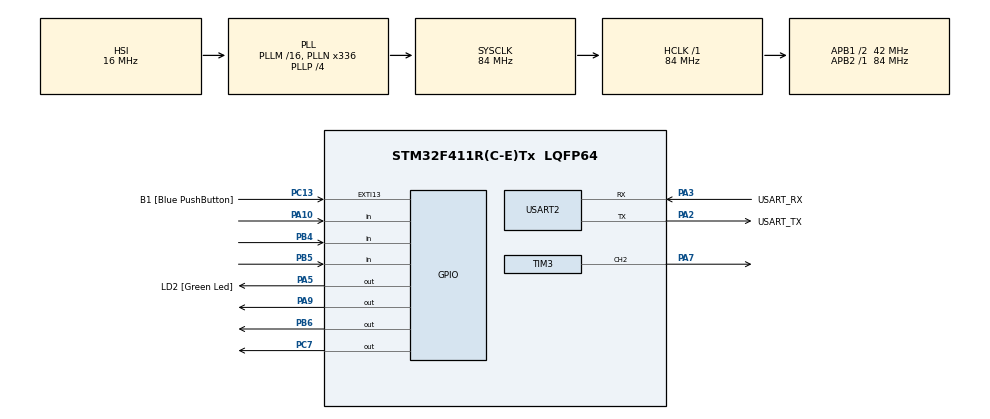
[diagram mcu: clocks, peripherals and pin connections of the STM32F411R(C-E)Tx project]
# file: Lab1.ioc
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Mcu.Family=STM32F4
Mcu.Name=STM32F411R(C-E)Tx
Mcu.Package=LQFP64
NVIC.PriorityGroup=NVIC_PRIORITYGROUP_0
PA10.Signal=GPIO_Input
PA13.GPIO_Label=TMS
PA13.Mode=Serial_Wire
PA13.Signal=SYS_JTMS-SWDIO
PA14.GPIO_Label=TCK
PA14.Mode=Serial_Wire
PA14.Signal=SYS_JTCK-SWCLK
PA2.GPIO_Label=USART_TX
PA2.Mode=Asynchronous
PA2.Signal=USART2_TX
PA3.GPIO_Label=USART_RX
PA3.Mode=Asynchronous
PA3.Signal=USART2_RX
PA5.GPIO_Label=LD2 [Green Led]
PA5.Signal=GPIO_Output
PA7.Signal=S_TIM3_CH2
PA9.Signal=GPIO_Output
PB3.Signal=SYS_JTDO-SWO
PB4.Signal=GPIO_Input
PB5.Signal=GPIO_Input
PB6.Signal=GPIO_Output
PC13-ANTI_TAMP.GPIO_Label=B1 [Blue PushButton]
PC13-ANTI_TAMP.GPIO_ModeDefaultEXTI=GPIO_MODE_IT_FALLING
PC13-ANTI_TAMP.Signal=GPXTI13
PC14-OSC32_IN.Mode=LSE-External-Oscillator
PC14-OSC32_IN.Signal=RCC_OSC32_IN
PC15-OSC32_OUT.Mode=LSE-External-Oscillator
PC15-OSC32_OUT.Signal=RCC_OSC32_OUT
PC7.Signal=GPIO_Output
PH0\ -\ OSC_IN.Mode=HSE-External-Clock-Source
PH0\ -\ OSC_IN.Signal=RCC_OSC_IN
PH1\ -\ OSC_OUT.Mode=HSE-External-Clock-Source
PH1\ -\ OSC_OUT.Signal=RCC_OSC_OUT
ProjectManager.HeapSize=0x200
ProjectManager.StackSize=0x400
ProjectManager.TargetToolchain=STM32CubeIDE
RCC.48MHZClocksFreq_Value=84000000
RCC.AHBFreq_Value=84000000
RCC.APB1CLKDivider=RCC_HCLK_DIV2
RCC.APB1Freq_Value=42000000
RCC.APB1TimFreq_Value=84000000
RCC.APB2Freq_Value=84000000
RCC.APB2TimFreq_Value=84000000
RCC.CortexFreq_Value=84000000
RCC.FLatency-AdvancedSettings=FLASH_LATENCY_2
RCC.HCLKFreq_Value=84000000
RCC.HSE_VALUE=8000000
RCC.HSI_VALUE=16000000
RCC.PLLN=336
RCC.PLLP=RCC_PLLP_DIV4
RCC.SYSCLKFreq_VALUE=84000000
RCC.SYSCLKSource=RCC_SYSCLKSOURCE_PLLCLK
RCC.VCOOutputFreq_Value=336000000
SH.S_TIM3_CH2.0=TIM3_CH2,PWM Generation2 CH2
TIM3.Channel-PWM\ Generation2\ CH2=TIM_CHANNEL_2
TIM3.Period=999
TIM3.Prescaler=71
USART2.VirtualMode=VM_ASYNC
VP_TIM3_VS_ClockSourceINT.Mode=Internal
board=NUCLEO-F411RE

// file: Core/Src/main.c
/* USER CODE BEGIN Header */
/**
  ******************************************************************************
  * @file           : main.c
  * @brief          : Main program body
  ******************************************************************************
  * @attention
  *
  * <h2><center>&copy; Copyright (c) 2021 STMicroelectronics.
  * All rights reserved.</center></h2>
  *
  * This software component is licensed by ST under BSD 3-Clause license,
  * the "License"; You may not use this file except in compliance with the
  * License. You may obtain a copy of the License at:
  *                        opensource.org/licenses/BSD-3-Clause
  *
  ******************************************************************************
  */
/* USER CODE END Header */
#include "main.h"

TIM_HandleTypeDef htim3;

UART_HandleTypeDef huart2;

void SystemClock_Config(void);
static void MX_GPIO_Init(void);
static void MX_USART2_UART_Init(void);
static void MX_TIM3_Init(void);

int main(void)
{

  /* MCU Configuration--------------------------------------------------------*/

  /* Reset of all peripherals, Initializes the Flash interface and the Systick. */
  HAL_Init();

  /* Configure the system clock */
  SystemClock_Config();

  /* Initialize all configured peripherals */
  MX_GPIO_Init();
  MX_USART2_UART_Init();
  MX_TIM3_Init();
  /* USER CODE BEGIN 2 */

  GPIO_PinState SwitchState1[2]; //now,last for part 1
  GPIO_PinState SwitchState2[2]; //now,last for part 2
  GPIO_PinState SwitchState3[2]; //now,last for part 3
  GPIO_PinState SwitchState4[2]; //now,last for part 4

  uint16_t LED1_HalfPeriod[4] = {1000,500,250,167}; // HalfPeriod of LED1 (D1)
  uint16_t LED3_TimeShow[2]={500, 1500}; //time on off of LED3 (D5)

  uint8_t i = 0; //index of half period for part 1
  uint8_t j = 0; //index of Time show for part 3
  uint8_t k = 0; ////index of pwm for part 4

  uint32_t TimeStamp = 0; //count time for delay for part 1
  uint32_t Time = 0; //count time for delay for part 3
  uint32_t ButtonTimeStamp = 0; //count time for button delay

  //HAL_TIM_Base_Start_IT(&htim1);
  HAL_TIM_PWM_Start(&htim3, TIM_CHANNEL_2);//enable PWM output on LED pin

  uint16_t PWM[5] = {1000,750,500,250,0}; // PWM (D4)
  //uint8_t k = __HAL_TIM_GET_COMPARE(&htim3, TIM_CHANNEL_2); //the period is 1000. Duty cycle should vary between 0 and 1000.
  __HAL_TIM_SET_COMPARE(&htim3, TIM_CHANNEL_2, PWM[k]); //update the PWM control register

  /* USER CODE END 2 */

  /* Infinite loop */
  while (1)
  {

    /* USER CODE BEGIN 3 */
	  	  if(HAL_GetTick()-ButtonTimeStamp>=100)//ms
	  	  {
	  		  ButtonTimeStamp = HAL_GetTick(); //save time present for button delay
	  		  //switch press is low
	  		  SwitchState1[0]= HAL_GPIO_ReadPin(GPIOA, GPIO_PIN_10); //save present state for part1
	  		  SwitchState2[0]= HAL_GPIO_ReadPin(GPIOB, GPIO_PIN_3); //save present state for part2
	  		  SwitchState3[0]= HAL_GPIO_ReadPin(GPIOB, GPIO_PIN_5); //save present state for part3
	  		  SwitchState4[0]= HAL_GPIO_ReadPin(GPIOB, GPIO_PIN_4); //save present state for part4

	  		  if(SwitchState1[1]==GPIO_PIN_SET
	  				  && SwitchState1[0]==GPIO_PIN_RESET) //if press button (s1)
	  		  {
	  			  //change half period of LED 1
	  			  if (i < 3) //index 0 - 2
	  			  {
	  				  i += 1; //add 1
	  			  }
	  			  else //index 3
	  			  {
	  				  i=0; //reset index
	  			  }
	  		  }

	  		  if(SwitchState2[1]==GPIO_PIN_SET
	  				  && SwitchState2[0]==GPIO_PIN_RESET) //if press button (s2)
	  		  {
	  			  //change state of LED 2
	  			if(HAL_GPIO_ReadPin(GPIOC, GPIO_PIN_7)==GPIO_PIN_SET) //if LED2 (D3) turn on
	  			{
	  				HAL_GPIO_WritePin(GPIOC, GPIO_PIN_7, GPIO_PIN_RESET); // turn off
	  			}
	  			else //if LED2 (D3) turn off
	  			{
	  				HAL_GPIO_WritePin(GPIOC, GPIO_PIN_7, GPIO_PIN_SET); //turn on
	  			}
	  		  }

	  		  if(SwitchState3[1]==GPIO_PIN_SET
	  				&& SwitchState3[0]==GPIO_PIN_RESET) //if press button (s3)
	  			{
	  			//change half period of LED 3
	  			if (j == 0) //index 0
	  				{
	  					j= 1; //index 1
	  				}
	  			else //index 1
	  				{
	  					j=0; //reset index
	  				}
	  			}

	  		if(SwitchState4[1]==GPIO_PIN_SET
	  				&& SwitchState4[0]==GPIO_PIN_RESET) //if press button (s4)
	  			{
	  			//change half period of LED 4
	  			if (k < 4) //index 0 - 4
	  				{
	  					k += 1; //add
	  					__HAL_TIM_SET_COMPARE(&htim3, TIM_CHANNEL_2, PWM[k]); //update the PWM control register
	  				}
	  			else //index 5
	  				{
	  					k=0; //reset index
	  					__HAL_TIM_SET_COMPARE(&htim3, TIM_CHANNEL_2, PWM[k]); //update the PWM control register
	  				}
	  			}

	  		  SwitchState1[1]=SwitchState1[0]; //save last state for part 1
	  		  SwitchState2[1]=SwitchState2[0]; //save last state for part 2
	  		  SwitchState3[1]=SwitchState3[0]; //save last state for part 3
	  		  SwitchState4[1]=SwitchState4[0]; //save last state for part 4

	  	  }

	  //run LED1

	  	  if (HAL_GetTick()-TimeStamp >= LED1_HalfPeriod[i]) //half period of LED1 (D1)
	  	  {
	  		  TimeStamp = HAL_GetTick(); //save present time for delay
	  		  if(HAL_GPIO_ReadPin(GPIOA, GPIO_PIN_9)==GPIO_PIN_SET) //if LED1 (D1) turn on
	  		  {
	  			  HAL_GPIO_WritePin(GPIOA, GPIO_PIN_9, GPIO_PIN_RESET); //turn off
	  		  }
	  		  else //if LED1 (D1) turn off
	  		  {
	  			  HAL_GPIO_WritePin(GPIOA, GPIO_PIN_9, GPIO_PIN_SET); //turn on
	  		  }
	  	  }

	  	//run LED3

	  	if (HAL_GetTick()-Time >= LED3_TimeShow[j]) //half period of LED3 (D5)
	  		{
	  			Time = HAL_GetTick(); //save present time for delay
	  		if(HAL_GPIO_ReadPin(GPIOB, GPIO_PIN_6)==GPIO_PIN_SET) //if LED3 (D5) turn on
	  			{
	  				HAL_GPIO_WritePin(GPIOB, GPIO_PIN_6, GPIO_PIN_RESET); //turn off
	  			}
	  		else //if LED3 (D5) turn off
	  			{
	  				HAL_GPIO_WritePin(GPIOB, GPIO_PIN_6, GPIO_PIN_SET); //turn on
	  			}

	  		//change half period of LED 3
	  		if (j == 0) //index 0
	  			{
	  				j= 1; //index 1
	  			}
	  		else //index 1
	  			{
	  				j=0; //reset index
	  			}
	  		}

  }
  /* USER CODE END 3 */
}

void SystemClock_Config(void)
{
  RCC_OscInitTypeDef RCC_OscInitStruct = {0};
  RCC_ClkInitTypeDef RCC_ClkInitStruct = {0};

  /** Configure the main internal regulator output voltage
  */
  __HAL_RCC_PWR_CLK_ENABLE();
  __HAL_PWR_VOLTAGESCALING_CONFIG(PWR_REGULATOR_VOLTAGE_SCALE1);
  /** Initializes the RCC Oscillators according to the specified parameters
  * in the RCC_OscInitTypeDef structure.
  */
  RCC_OscInitStruct.OscillatorType = RCC_OSCILLATORTYPE_HSI;
  RCC_OscInitStruct.HSIState = RCC_HSI_ON;
  RCC_OscInitStruct.HSICalibrationValue = RCC_HSICALIBRATION_DEFAULT;
  RCC_OscInitStruct.PLL.PLLState = RCC_PLL_ON;
  RCC_OscInitStruct.PLL.PLLSource = RCC_PLLSOURCE_HSI;
  RCC_OscInitStruct.PLL.PLLM = 16;
  RCC_OscInitStruct.PLL.PLLN = 336;
  RCC_OscInitStruct.PLL.PLLP = RCC_PLLP_DIV4;
  RCC_OscInitStruct.PLL.PLLQ = 4;
  if (HAL_RCC_OscConfig(&RCC_OscInitStruct) != HAL_OK)
  {
    Error_Handler();
  }
  /** Initializes the CPU, AHB and APB buses clocks
  */
  RCC_ClkInitStruct.ClockType = RCC_CLOCKTYPE_HCLK|RCC_CLOCKTYPE_SYSCLK
                              |RCC_CLOCKTYPE_PCLK1|RCC_CLOCKTYPE_PCLK2;
  RCC_ClkInitStruct.SYSCLKSource = RCC_SYSCLKSOURCE_PLLCLK;
  RCC_ClkInitStruct.AHBCLKDivider = RCC_SYSCLK_DIV1;
  RCC_ClkInitStruct.APB1CLKDivider = RCC_HCLK_DIV2;
  RCC_ClkInitStruct.APB2CLKDivider = RCC_HCLK_DIV1;

  if (HAL_RCC_ClockConfig(&RCC_ClkInitStruct, FLASH_LATENCY_2) != HAL_OK)
  {
    Error_Handler();
  }
}

static void MX_TIM3_Init(void)
{

  TIM_ClockConfigTypeDef sClockSourceConfig = {0};
  TIM_MasterConfigTypeDef sMasterConfig = {0};
  TIM_OC_InitTypeDef sConfigOC = {0};

  htim3.Instance = TIM3;
  htim3.Init.Prescaler = 71;
  htim3.Init.CounterMode = TIM_COUNTERMODE_UP;
  htim3.Init.Period = 999;
  htim3.Init.ClockDivision = TIM_CLOCKDIVISION_DIV1;
  htim3.Init.AutoReloadPreload = TIM_AUTORELOAD_PRELOAD_DISABLE;
  if (HAL_TIM_Base_Init(&htim3) != HAL_OK)
  {
    Error_Handler();
  }
  sClockSourceConfig.ClockSource = TIM_CLOCKSOURCE_INTERNAL;
  if (HAL_TIM_ConfigClockSource(&htim3, &sClockSourceConfig) != HAL_OK)
  {
    Error_Handler();
  }
  if (HAL_TIM_PWM_Init(&htim3) != HAL_OK)
  {
    Error_Handler();
  }
  sMasterConfig.MasterOutputTrigger = TIM_TRGO_RESET;
  sMasterConfig.MasterSlaveMode = TIM_MASTERSLAVEMODE_DISABLE;
  if (HAL_TIMEx_MasterConfigSynchronization(&htim3, &sMasterConfig) != HAL_OK)
  {
    Error_Handler();
  }
  sConfigOC.OCMode = TIM_OCMODE_PWM1;
  sConfigOC.Pulse = 0;
  sConfigOC.OCPolarity = TIM_OCPOLARITY_HIGH;
  sConfigOC.OCFastMode = TIM_OCFAST_DISABLE;
  if (HAL_TIM_PWM_ConfigChannel(&htim3, &sConfigOC, TIM_CHANNEL_2) != HAL_OK)
  {
    Error_Handler();
  }
  HAL_TIM_MspPostInit(&htim3);

}

static void MX_USART2_UART_Init(void)
{

  huart2.Instance = USART2;
  huart2.Init.BaudRate = 115200;
  huart2.Init.WordLength = UART_WORDLENGTH_8B;
  huart2.Init.StopBits = UART_STOPBITS_1;
  huart2.Init.Parity = UART_PARITY_NONE;
  huart2.Init.Mode = UART_MODE_TX_RX;
  huart2.Init.HwFlowCtl = UART_HWCONTROL_NONE;
  huart2.Init.OverSampling = UART_OVERSAMPLING_16;
  if (HAL_UART_Init(&huart2) != HAL_OK)
  {
    Error_Handler();
  }

}

static void MX_GPIO_Init(void)
{
  GPIO_InitTypeDef GPIO_InitStruct = {0};

  /* GPIO Ports Clock Enable */
  __HAL_RCC_GPIOC_CLK_ENABLE();
  __HAL_RCC_GPIOH_CLK_ENABLE();
  __HAL_RCC_GPIOA_CLK_ENABLE();
  __HAL_RCC_GPIOB_CLK_ENABLE();

  /*Configure GPIO pin Output Level */
  HAL_GPIO_WritePin(GPIOA, LD2_Pin|GPIO_PIN_9, GPIO_PIN_RESET);

  /*Configure GPIO pin Output Level */
  HAL_GPIO_WritePin(GPIOC, GPIO_PIN_7, GPIO_PIN_RESET);

  /*Configure GPIO pin Output Level */
  HAL_GPIO_WritePin(GPIOB, GPIO_PIN_6, GPIO_PIN_RESET);

  /*Configure GPIO pin : B1_Pin */
  GPIO_InitStruct.Pin = B1_Pin;
  GPIO_InitStruct.Mode = GPIO_MODE_IT_FALLING;
  GPIO_InitStruct.Pull = GPIO_NOPULL;
  HAL_GPIO_Init(B1_GPIO_Port, &GPIO_InitStruct);

  /*Configure GPIO pins : LD2_Pin PA9 */
  GPIO_InitStruct.Pin = LD2_Pin|GPIO_PIN_9;
  GPIO_InitStruct.Mode = GPIO_MODE_OUTPUT_PP;
  GPIO_InitStruct.Pull = GPIO_NOPULL;
  GPIO_InitStruct.Speed = GPIO_SPEED_FREQ_LOW;
  HAL_GPIO_Init(GPIOA, &GPIO_InitStruct);

  /*Configure GPIO pin : PC7 */
  GPIO_InitStruct.Pin = GPIO_PIN_7;
  GPIO_InitStruct.Mode = GPIO_MODE_OUTPUT_PP;
  GPIO_InitStruct.Pull = GPIO_NOPULL;
  GPIO_InitStruct.Speed = GPIO_SPEED_FREQ_LOW;
  HAL_GPIO_Init(GPIOC, &GPIO_InitStruct);

  /*Configure GPIO pin : PA10 */
  GPIO_InitStruct.Pin = GPIO_PIN_10;
  GPIO_InitStruct.Mode = GPIO_MODE_INPUT;
  GPIO_InitStruct.Pull = GPIO_NOPULL;
  HAL_GPIO_Init(GPIOA, &GPIO_InitStruct);

  /*Configure GPIO pins : PB4 PB5 */
  GPIO_InitStruct.Pin = GPIO_PIN_4|GPIO_PIN_5;
  GPIO_InitStruct.Mode = GPIO_MODE_INPUT;
  GPIO_InitStruct.Pull = GPIO_NOPULL;
  HAL_GPIO_Init(GPIOB, &GPIO_InitStruct);

  /*Configure GPIO pin : PB6 */
  GPIO_InitStruct.Pin = GPIO_PIN_6;
  GPIO_InitStruct.Mode = GPIO_MODE_OUTPUT_PP;
  GPIO_InitStruct.Pull = GPIO_NOPULL;
  GPIO_InitStruct.Speed = GPIO_SPEED_FREQ_LOW;
  HAL_GPIO_Init(GPIOB, &GPIO_InitStruct);

}

void Error_Handler(void)
{
  __disable_irq();
  while (1)
  {
  }
}

/************************ (C) COPYRIGHT STMicroelectronics *****END OF FILE****/
